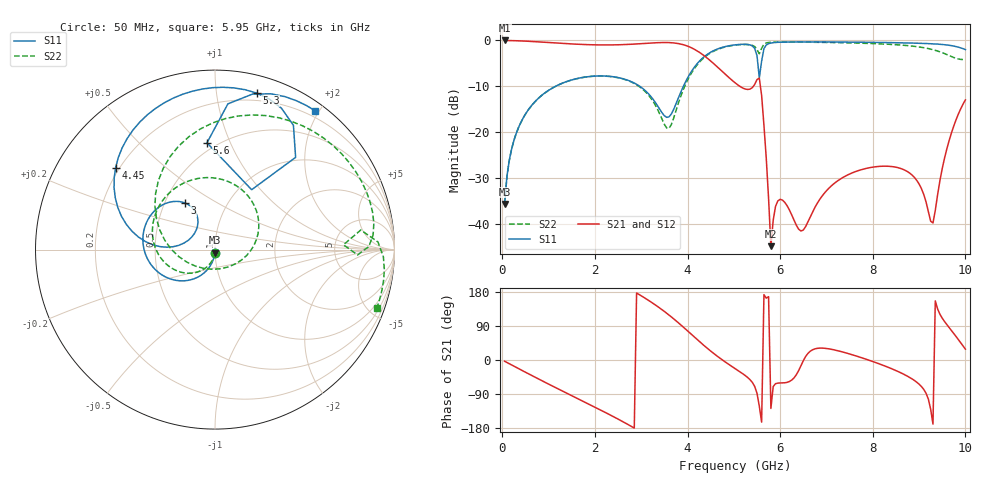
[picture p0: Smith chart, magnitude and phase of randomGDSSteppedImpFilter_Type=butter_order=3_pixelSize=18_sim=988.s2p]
! freq	dB(S11)	phase(S11)	dB(S12)	phase(S12)
!  dB(S21)	phase(S21)	dB(S22)	phase(S22)
!S-par simulation data
#  GHz  S  DB  R 50
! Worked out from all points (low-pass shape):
!   200 points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, 50 MHz to 10 GHz, reference 50 ohm
!   highest |S21| = -0.01 dB at 50 MHz (marker M1); lowest = -44.8 dB at 5.8 GHz (marker M2)
!   |S21| within 3 dB of the highest: start of sweep to 4.316 GHz
!   lowest |S11| = -35.6 dB at 50 MHz (marker M3), VSWR 1.03, Z = 49.9 - j1.66 ohm
!   |S11| at or under -10 dB: start of sweep to 1.147 GHz; 2.97 GHz to 3.91 GHz (940.5 MHz wide, 27.3 % of centre)
!   |S22| runs from -35.6 to -0.4 dB; largest |S21 - S12| = 0
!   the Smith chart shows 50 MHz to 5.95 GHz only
!   S11 on the Smith chart (normalised r, x): 50 MHz: 1.00, -0.03; 3 GHz: 0.63, +0.36; 4.45 GHz: 0.18, +0.35; 5.3 GHz: 0.14, +1.29; 5.6 GHz: 0.45, +0.82; 5.95 GHz: 0.11, +1.95
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0.05  -35.58 -92.3  -0.01 -3.3  -0.01 -3.3  -35.58 -93.3
0.2  -23.69 -101.2  -0.04 -13.0  -0.04 -13.0  -23.71 -105.2
0.5  -16.04 -117.7  -0.16 -32.2  -0.16 -32.2  -16.05 -127.7
1.75  -8.03 179.1  -0.89 -109.3  -0.89 -109.3  -8.05 141.3
3  -10.21 122.8  -0.71 169.4  -0.71 169.4  -10.37 38.0
3.4  -14.98 122.2  -0.48 137.1  -0.48 137.1  -16.02 -21.8
3.6  -16.64 151.8  -0.47 118.7  -0.47 118.7  -19.14 -96.5
3.9  -10.22 176.9  -0.91 87.8  -0.91 87.8  -10.92 169.5
4.45  -2.88 140.4  -4.06 28.5  -4.06 28.5  -3.02 91.1
5.05  -0.94 94.5  -9.42 -24.5  -9.42 -24.5  -1.00 33.0
5.3  -0.89 75.1  -10.68 -46.3  -10.68 -46.3  -0.89 13.3
5.5  -3.32 48.8  -8.52 -87.7  -8.52 -87.7  -1.99 -2.1
5.6  -4.48 94.3  -11.98 -163.9  -11.98 -163.9  -1.73 7.6
5.8  -0.56 65.4  -44.79 -127.8  -44.79 -127.8  -0.40 -10.5
5.95  -0.41 54.3  -34.93 -60.9  -34.93 -60.9  -0.36 -20.0
6.45  -0.33 27.0  -41.49 -15.0  -41.49 -15.0  -0.37 -45.8
6.7  -0.33 15.1  -37.34 27.0  -37.34 27.0  -0.40 -57.2
8.35  -0.47 -53.9  -27.40 -20.1  -27.40 -20.1  -0.84 -128.5
8.95  -0.61 -78.0  -30.47 -58.6  -30.47 -58.6  -1.35 -163.7
9.3  -0.74 -93.4  -39.74 -169.2  -39.74 -169.2  -2.02 164.7
9.7  -1.14 -114.7  -20.11 77.6  -20.11 77.6  -3.51 100.2
10  -1.99 -136.0  -12.95 28.6  -12.95 28.6  -4.11 23.2
